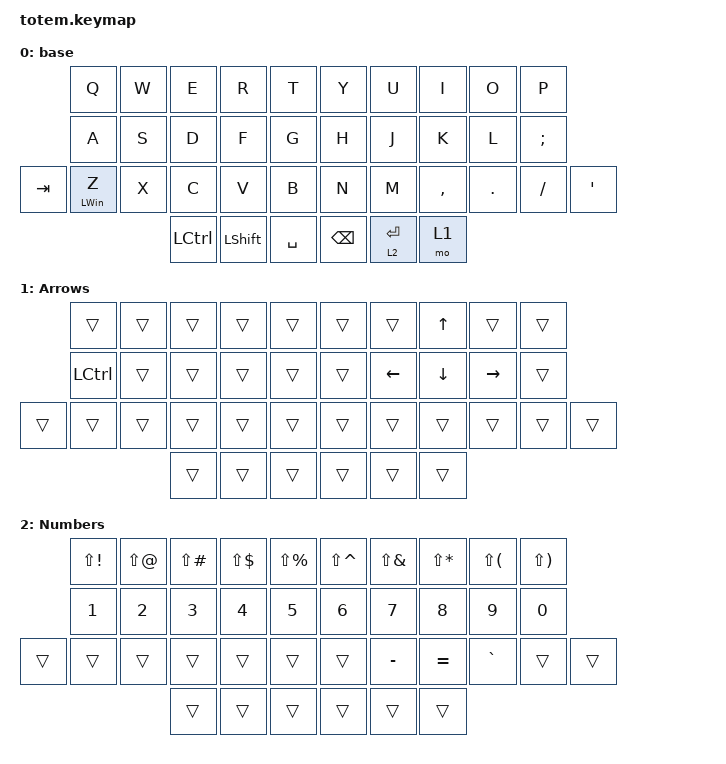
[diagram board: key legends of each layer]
//
//                                                        ▀▀▀▀▀     ▀▀▀▀▀          ▀▀█▀▀
//                                                        ▄▀▀▀▄  ▄  ▄▀▀▀▄  ▄  ▄▀▀▀▄  █  ▄▀▀▀▄
//                                                        █   █  █  █   █  █  █   █  █  █   █
//                                                         ▀▀▀   █   ▀▀▀   █   ▀▀▀   ▀   ▀▀▀
//                                                               █      ▄▄▄█▄▄▄    █   █  
//                                                               ▀      █  █  █     █▄█
//                                                             ▀▀▀▀▀    █  █  █      ▀
//                                                                      ▀  ▀  ▀
//
// ▄▄▄▄▄▄▄▄▄▄▄▄▄▄▄▄▄▄▄▄▄▄▄▄▄▄▄▄▄▄▄▄▄▄▄▄▄▄▄▄▄▄▄▄▄▄▄▄▄▄▄▄▄▄▄▄▄▄▄▄▄▄▄▄▄▄▄▄▄▄▄▄▄▄▄▄▄▄▄▄▄▄▄▄▄▄▄▄▄▄▄▄▄▄▄▄▄▄▄▄▄▄▄▄▄▄▄▄▄▄▄▄▄▄▄▄▄▄▄▄▄▄▄▄▄▄▄▄▄▄▄▄▄▄▄▄▄▄▄▄▄▄▄▄▄▄▄▄▄

#include <behaviors.dtsi>
#include <dt-bindings/zmk/keys.h>

/ {
    keymap {
        compatible = "zmk,keymap";

        base {
            bindings = <
         &kp Q           &kp W  &kp E      &kp R           &kp T        &kp Y          &kp U        &kp I      &kp O    &kp P
         &kp A           &kp S  &kp D      &kp F           &kp G        &kp H          &kp J        &kp K      &kp L    &kp SEMI
&kp TAB  &mt LEFT_WIN Z  &kp X  &kp C      &kp V           &kp B        &kp N          &kp M        &kp COMMA  &kp DOT  &kp FSLH  &kp APOS
                                &kp LCTRL  &kp LEFT_SHIFT  &kp SPACE    &kp BACKSPACE  &lt 2 ENTER  &mo 1
            >;
        };

        Arrows {
            bindings = <
        &trans     &trans  &trans  &trans  &trans    &trans  &trans    &kp UP    &trans     &trans
        &kp LCTRL  &trans  &trans  &trans  &trans    &trans  &kp LEFT  &kp DOWN  &kp RIGHT  &trans
&trans  &trans     &trans  &trans  &trans  &trans    &trans  &trans    &trans    &trans     &trans  &trans
                           &trans  &trans  &trans    &trans  &trans    &trans
            >;
        };

        Numbers {
            bindings = <
        &kp LS(EXCL)  &kp LS(AT)  &kp LS(POUND)  &kp LS(DLLR)  &kp LS(PRCNT)    &kp LS(CARET)  &kp LS(AMPS)  &kp LS(STAR)  &kp LS(LPAR)  &kp LS(RPAR)
        &kp N1        &kp N2      &kp N3         &kp N4        &kp N5           &kp N6         &kp N7        &kp N8        &kp N9        &kp N0
&trans  &trans        &trans      &trans         &trans        &trans           &trans         &kp MINUS     &kp EQUAL     &kp GRAVE     &trans        &trans
                                  &trans         &trans        &trans           &trans         &trans        &trans
            >;
        };
    };

    conditional_layers {
        compatible = "zmk,conditional-layers";

        device {
            if-layers = <1 2>;
            then-layer = <3>;
        };
    };
};
